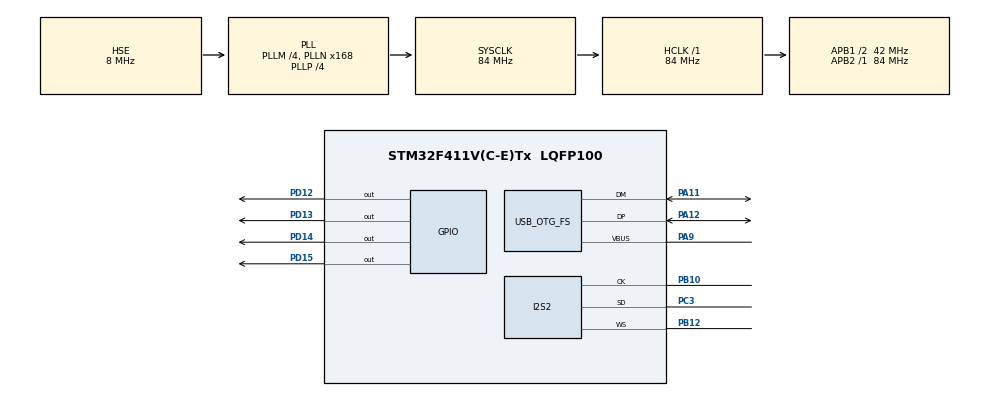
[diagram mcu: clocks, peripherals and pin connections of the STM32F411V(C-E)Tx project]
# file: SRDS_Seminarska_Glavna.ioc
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Dma.Request0=SPI2_RX
Dma.SPI2_RX.0.Direction=DMA_PERIPH_TO_MEMORY
Dma.SPI2_RX.0.FIFOMode=DMA_FIFOMODE_DISABLE
Dma.SPI2_RX.0.Instance=DMA1_Stream3
Dma.SPI2_RX.0.MemDataAlignment=DMA_MDATAALIGN_HALFWORD
Dma.SPI2_RX.0.MemInc=DMA_MINC_ENABLE
Dma.SPI2_RX.0.Mode=DMA_CIRCULAR
Dma.SPI2_RX.0.PeriphDataAlignment=DMA_PDATAALIGN_HALFWORD
Dma.SPI2_RX.0.PeriphInc=DMA_PINC_DISABLE
Dma.SPI2_RX.0.Priority=DMA_PRIORITY_LOW
I2S2.AudioFreq=I2S_AUDIOFREQ_32K
I2S2.CPOL=I2S_CPOL_LOW
I2S2.ErrorAudioFreq=0.0 %
I2S2.FullDuplexMode=I2S_FULLDUPLEXMODE_DISABLE
I2S2.Instance=SPI$Index
I2S2.Mode=I2S_MODE_MASTER_RX
I2S2.RealAudioFreq=32.0 KHz
I2S2.Standard=I2S_STANDARD_MSB
I2S2.VirtualMode=I2S_MODE_MASTER
Mcu.Family=STM32F4
Mcu.Name=STM32F411V(C-E)Tx
Mcu.Package=LQFP100
NVIC.DMA1_Stream3_IRQn=true\:0\:0\:false\:false\:true\:false\:true
NVIC.OTG_FS_IRQn=true\:0\:0\:false\:false\:true\:true\:true
NVIC.PriorityGroup=NVIC_PRIORITYGROUP_0
PA11.Mode=Device_Only
PA11.Signal=USB_OTG_FS_DM
PA12.Mode=Device_Only
PA12.Signal=USB_OTG_FS_DP
PA13.Mode=Serial_Wire
PA13.Signal=SYS_JTMS-SWDIO
PA14.Mode=Serial_Wire
PA14.Signal=SYS_JTCK-SWCLK
PA9.Mode=Activate_VBUS
PA9.Signal=USB_OTG_FS_VBUS
PB10.Mode=Half_Duplex_Master
PB10.Signal=I2S2_CK
PB12.Mode=Half_Duplex_Master
PB12.Signal=I2S2_WS
PC3.Mode=Half_Duplex_Master
PC3.Signal=I2S2_SD
PD12.Signal=GPIO_Output
PD13.Signal=GPIO_Output
PD14.Signal=GPIO_Output
PD15.Signal=GPIO_Output
PDM2PCM.CHANNEL1_bit_order=PDM_FILTER_BIT_ORDER_MSB
PDM2PCM.CHANNEL1_decimation_factor=PDM_FILTER_DEC_FACTOR_64
PDM2PCM.CHANNEL1_endianness=PDM_FILTER_ENDIANNESS_BE
PDM2PCM.CHANNEL1_in_ptr_channels=1
PDM2PCM.CHANNEL1_mic_gain=10
PDM2PCM.CHANNEL1_out_ptr_channels=1
PH0\ -\ OSC_IN.Mode=HSE-External-Oscillator
PH0\ -\ OSC_IN.Signal=RCC_OSC_IN
PH1\ -\ OSC_OUT.Mode=HSE-External-Oscillator
PH1\ -\ OSC_OUT.Signal=RCC_OSC_OUT
ProjectManager.HeapSize=0x200
ProjectManager.StackSize=0x400
ProjectManager.TargetToolchain=STM32CubeIDE
RCC.48MHZClocksFreq_Value=48000000
RCC.AHBFreq_Value=84000000
RCC.APB1CLKDivider=RCC_HCLK_DIV2
RCC.APB1Freq_Value=42000000
RCC.APB1TimFreq_Value=84000000
RCC.APB2Freq_Value=84000000
RCC.APB2TimFreq_Value=84000000
RCC.CortexFreq_Value=84000000
RCC.HCLKFreq_Value=84000000
RCC.HSE_VALUE=8000000
RCC.HSI_VALUE=16000000
RCC.LSE_VALUE=32768
RCC.PLLI2SM=5
RCC.PLLM=4
RCC.PLLN=168
RCC.PLLP=RCC_PLLP_DIV4
RCC.PLLQ=7
RCC.SYSCLKFreq_VALUE=84000000
RCC.SYSCLKSource=RCC_SYSCLKSOURCE_PLLCLK
RCC.VCOOutputFreq_Value=336000000
USB_DEVICE.CLASS_NAME_FS=CDC
USB_DEVICE.PRODUCT_STRING_CDC_FS=MicOutput
USB_DEVICE.VirtualMode=Cdc
USB_DEVICE.VirtualModeFS=Cdc_FS
USB_OTG_FS.VirtualMode=Device_Only
VP_CRC_VS_CRC.Mode=CRC_Activate
VP_PDM2PCM_VS_PDM2PCM.Mode=PDM2PCM_Channel
VP_USB_DEVICE_VS_USB_DEVICE_CDC_FS.Mode=CDC_FS
board=STM32F411E-DISCO

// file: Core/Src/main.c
/* USER CODE BEGIN Header */
/**
  ******************************************************************************
  * @file           : main.c
  * @brief          : Main program body
  ******************************************************************************
  * @attention
  *
  * <h2><center>&copy; Copyright (c) 2021 STMicroelectronics.
  * All rights reserved.</center></h2>
  *
  * This software component is licensed by ST under Ultimate Liberty license
  * SLA0044, the "License"; You may not use this file except in compliance with
  * the License. You may obtain a copy of the License at:
  *                             www.st.com/SLA0044
  *
  ******************************************************************************
  */
/* USER CODE END Header */
#include "main.h"
#include "pdm2pcm.h"
#include "usb_device.h"

/* USER CODE BEGIN Includes */
#include "usbd_cdc_if.h"
#include <math.h>
/* USER CODE END Includes */

/* USER CODE BEGIN PD */
#define AUDIO_BUFFER_SIZE 4096
#define N 16

#define PDM_BUFFER_SIZE 64
#define PCM_BUFFER_SIZE 16
//16 je povezana z številko samplov pri pdm2pcm

#define M_PI   3.14159265358979323846 /* pi */
/* USER CODE END PD */

CRC_HandleTypeDef hcrc;

I2S_HandleTypeDef hi2s2;
DMA_HandleTypeDef hdma_spi2_rx;

/* USER CODE BEGIN PV */

int16_t Buffer[AUDIO_BUFFER_SIZE];
uint16_t PDM_Signal[PDM_BUFFER_SIZE];
uint16_t PCM_Signal[PCM_BUFFER_SIZE];

uint16_t buffer_stevec = 0;

int stanje = -1;
//Ce je vrednost signala visoka obcasno skoci na 30000+
int16_t izjeme;
int16_t reset = 0;

/* USER CODE END PV */

void SystemClock_Config(void);
static void MX_GPIO_Init(void);
static void MX_DMA_Init(void);
static void MX_I2S2_Init(void);
static void MX_CRC_Init(void);
/* USER CODE BEGIN PFP */

float absFloat(float floa) {
	return floa < 0 ? -floa : floa;
}

/* USER CODE END PFP */

/* USER CODE BEGIN 0 */
void NastaviLuckeGledeNaGlastnost(int16_t glasnost){

	glasnost = abs(glasnost);
	if(glasnost < 5000){
		HAL_GPIO_WritePin(GPIOD, GPIO_PIN_12, GPIO_PIN_SET);
	}
	if(glasnost > 5000 && glasnost < 10000){
		HAL_GPIO_WritePin(GPIOD, GPIO_PIN_13, GPIO_PIN_SET);
	}
	if(glasnost > 10000 && glasnost < 15000){
		HAL_GPIO_WritePin(GPIOD, GPIO_PIN_14, GPIO_PIN_SET);
	}
	if(glasnost > 15000){
		HAL_GPIO_WritePin(GPIOD, GPIO_PIN_15, GPIO_PIN_SET);
	}
}

void PonastaviLucke(){
	HAL_GPIO_WritePin(GPIOD, GPIO_PIN_12, GPIO_PIN_RESET);
	HAL_GPIO_WritePin(GPIOD, GPIO_PIN_13, GPIO_PIN_RESET);
	HAL_GPIO_WritePin(GPIOD, GPIO_PIN_14, GPIO_PIN_RESET);
	HAL_GPIO_WritePin(GPIOD, GPIO_PIN_15, GPIO_PIN_RESET);
}
/* USER CODE END 0 */

int main(void)
{

  /* MCU Configuration--------------------------------------------------------*/

  /* Reset of all peripherals, Initializes the Flash interface and the Systick. */
  HAL_Init();

  /* Configure the system clock */
  SystemClock_Config();

  /* Initialize all configured peripherals */
  MX_GPIO_Init();
  MX_DMA_Init();
  MX_I2S2_Init();
  MX_USB_DEVICE_Init();
  MX_CRC_Init();
  MX_PDM2PCM_Init();
  /* USER CODE BEGIN 2 */
  __HAL_RCC_CRC_CLK_ENABLE();

  HAL_I2S_Receive_DMA(&hi2s2, PDM_Signal, PDM_BUFFER_SIZE);
  /* USER CODE END 2 */

  /* Infinite loop */
  while (1)
  {

    /* USER CODE BEGIN 3 */
	//CDC_Transmit_FS((uint8_t*)"OI", 7);
	//Size = dolizni PDM_Signala
	if(stanje == 1){
		stanje = 0;

		PDM_Filter(&PDM_Signal[0], &PCM_Signal[0], &PDM1_filter_handler);
		//CDC_Transmit_FS((uint8_t*)&PCM_Signal, PCM_BUFFER_SIZE * 2);

		if(buffer_stevec < AUDIO_BUFFER_SIZE){
			for(int i = 0; i < 16; i++){
				if(abs((int16_t)PCM_Signal[i]) > 25000)
					continue;
				Buffer[buffer_stevec] = PCM_Signal[i];
				buffer_stevec++;
			}

		}
		else{
			int16_t res_ma[AUDIO_BUFFER_SIZE];
			float ma_zvezdica = Buffer[0];

			for (int i = 0; i < AUDIO_BUFFER_SIZE; i++)
			{
				//MA*[i-1] +X[i] - MA*[i-1]/N
				ma_zvezdica = ma_zvezdica + Buffer[i] - (ma_zvezdica / N);

				res_ma[i] = ma_zvezdica / N;
				NastaviLuckeGledeNaGlastnost(res_ma[i]);
			}
			// P1 * 2/3 + X * 1/3 = (P * a + X * b)
			CDC_Transmit_FS((uint8_t*)&Buffer, AUDIO_BUFFER_SIZE * 2);
			//CDC_Transmit_FS((uint8_t*)&res_ma, AUDIO_BUFFER_SIZE * 2);
			buffer_stevec = 0;
		}
		reset++;
		if(reset > 7000){
			PonastaviLucke();
			reset = 0;
		}

		/*for(int i = 0; i < PCM_BUFFER_SIZE; i++){
			printf("i: %d\n", PCM_Signal[i]);
		}*/
		//PosljiPodatke(PCM_Signal);
	}
  }
  /* USER CODE END 3 */
}

void SystemClock_Config(void)
{
  RCC_OscInitTypeDef RCC_OscInitStruct = {0};
  RCC_ClkInitTypeDef RCC_ClkInitStruct = {0};
  RCC_PeriphCLKInitTypeDef PeriphClkInitStruct = {0};

  /** Configure the main internal regulator output voltage
  */
  __HAL_RCC_PWR_CLK_ENABLE();
  __HAL_PWR_VOLTAGESCALING_CONFIG(PWR_REGULATOR_VOLTAGE_SCALE1);
  /** Initializes the RCC Oscillators according to the specified parameters
  * in the RCC_OscInitTypeDef structure.
  */
  RCC_OscInitStruct.OscillatorType = RCC_OSCILLATORTYPE_HSE;
  RCC_OscInitStruct.HSEState = RCC_HSE_ON;
  RCC_OscInitStruct.PLL.PLLState = RCC_PLL_ON;
  RCC_OscInitStruct.PLL.PLLSource = RCC_PLLSOURCE_HSE;
  RCC_OscInitStruct.PLL.PLLM = 4;
  RCC_OscInitStruct.PLL.PLLN = 168;
  RCC_OscInitStruct.PLL.PLLP = RCC_PLLP_DIV4;
  RCC_OscInitStruct.PLL.PLLQ = 7;
  if (HAL_RCC_OscConfig(&RCC_OscInitStruct) != HAL_OK)
  {
    Error_Handler();
  }
  /** Initializes the CPU, AHB and APB buses clocks
  */
  RCC_ClkInitStruct.ClockType = RCC_CLOCKTYPE_HCLK|RCC_CLOCKTYPE_SYSCLK
                              |RCC_CLOCKTYPE_PCLK1|RCC_CLOCKTYPE_PCLK2;
  RCC_ClkInitStruct.SYSCLKSource = RCC_SYSCLKSOURCE_PLLCLK;
  RCC_ClkInitStruct.AHBCLKDivider = RCC_SYSCLK_DIV1;
  RCC_ClkInitStruct.APB1CLKDivider = RCC_HCLK_DIV2;
  RCC_ClkInitStruct.APB2CLKDivider = RCC_HCLK_DIV1;

  if (HAL_RCC_ClockConfig(&RCC_ClkInitStruct, FLASH_LATENCY_2) != HAL_OK)
  {
    Error_Handler();
  }
  PeriphClkInitStruct.PeriphClockSelection = RCC_PERIPHCLK_I2S;
  PeriphClkInitStruct.PLLI2S.PLLI2SN = 192;
  PeriphClkInitStruct.PLLI2S.PLLI2SM = 5;
  PeriphClkInitStruct.PLLI2S.PLLI2SR = 2;
  if (HAL_RCCEx_PeriphCLKConfig(&PeriphClkInitStruct) != HAL_OK)
  {
    Error_Handler();
  }
}

static void MX_CRC_Init(void)
{

  hcrc.Instance = CRC;
  if (HAL_CRC_Init(&hcrc) != HAL_OK)
  {
    Error_Handler();
  }
  __HAL_CRC_DR_RESET(&hcrc);

}

static void MX_I2S2_Init(void)
{

  hi2s2.Instance = SPI2;
  hi2s2.Init.Mode = I2S_MODE_MASTER_RX;
  hi2s2.Init.Standard = I2S_STANDARD_MSB;
  hi2s2.Init.DataFormat = I2S_DATAFORMAT_16B;
  hi2s2.Init.MCLKOutput = I2S_MCLKOUTPUT_DISABLE;
  hi2s2.Init.AudioFreq = I2S_AUDIOFREQ_32K;
  hi2s2.Init.CPOL = I2S_CPOL_LOW;
  hi2s2.Init.ClockSource = I2S_CLOCK_PLL;
  hi2s2.Init.FullDuplexMode = I2S_FULLDUPLEXMODE_DISABLE;
  if (HAL_I2S_Init(&hi2s2) != HAL_OK)
  {
    Error_Handler();
  }

}

static void MX_DMA_Init(void)
{

  /* DMA controller clock enable */
  __HAL_RCC_DMA1_CLK_ENABLE();

  /* DMA interrupt init */
  /* DMA1_Stream3_IRQn interrupt configuration */
  HAL_NVIC_SetPriority(DMA1_Stream3_IRQn, 0, 0);
  HAL_NVIC_EnableIRQ(DMA1_Stream3_IRQn);

}

static void MX_GPIO_Init(void)
{
  GPIO_InitTypeDef GPIO_InitStruct = {0};

  /* GPIO Ports Clock Enable */
  __HAL_RCC_GPIOH_CLK_ENABLE();
  __HAL_RCC_GPIOC_CLK_ENABLE();
  __HAL_RCC_GPIOB_CLK_ENABLE();
  __HAL_RCC_GPIOD_CLK_ENABLE();
  __HAL_RCC_GPIOA_CLK_ENABLE();

  /*Configure GPIO pin Output Level */
  HAL_GPIO_WritePin(GPIOD, GPIO_PIN_12|GPIO_PIN_13|GPIO_PIN_14|GPIO_PIN_15, GPIO_PIN_RESET);

  /*Configure GPIO pins : PD12 PD13 PD14 PD15 */
  GPIO_InitStruct.Pin = GPIO_PIN_12|GPIO_PIN_13|GPIO_PIN_14|GPIO_PIN_15;
  GPIO_InitStruct.Mode = GPIO_MODE_OUTPUT_PP;
  GPIO_InitStruct.Pull = GPIO_NOPULL;
  GPIO_InitStruct.Speed = GPIO_SPEED_FREQ_LOW;
  HAL_GPIO_Init(GPIOD, &GPIO_InitStruct);

}

/* USER CODE BEGIN 4 */

void HAL_I2S_RxCpltCallback(I2S_HandleTypeDef *hi2s){
	stanje = 1;
}

void HAL_I2S_ErrorCallback(I2S_HandleTypeDef *hi2s){
	HAL_GPIO_TogglePin(GPIOD, GPIO_PIN_12);
	HAL_GPIO_TogglePin(GPIOD, GPIO_PIN_13);
	HAL_GPIO_TogglePin(GPIOD, GPIO_PIN_14);
	HAL_GPIO_TogglePin(GPIOD, GPIO_PIN_15);
}

/* USER CODE END 4 */

void Error_Handler(void)
{
}

/************************ (C) COPYRIGHT STMicroelectronics *****END OF FILE****/
